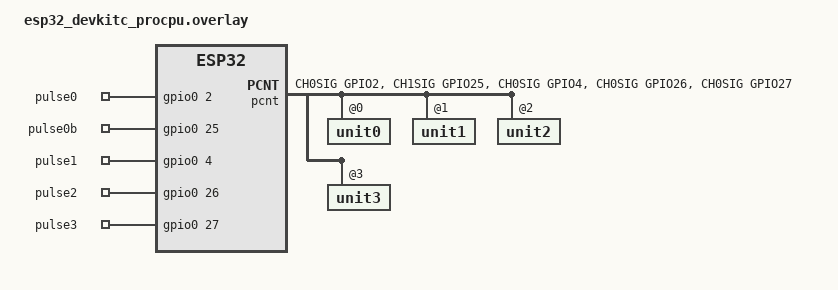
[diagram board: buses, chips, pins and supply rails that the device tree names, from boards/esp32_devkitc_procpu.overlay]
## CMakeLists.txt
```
# SPDX-License-Identifier: Apache-2.0

cmake_minimum_required(VERSION 3.28.0)

find_package(Zephyr REQUIRED HINTS $ENV{ZEPHYR_BASE})
project(qdec_esp32_test)

file(GLOB app_sources src/*.c)
target_sources(app PRIVATE ${app_sources})
```

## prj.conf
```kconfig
CONFIG_SENSOR=y
CONFIG_SENSOR_ASYNC_API=y
CONFIG_PCNT_ESP32_TRIGGER=y
CONFIG_RTIO=y
CONFIG_RTIO_WORKQ=y
CONFIG_ZTEST=y
```

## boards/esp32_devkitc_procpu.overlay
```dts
/*
 * SPDX-License-Identifier: Apache-2.0
 *
 * Copyright (c) 2026 Espressif Systems (Shanghai) Co., Ltd.
 *
 * ESP32 DevKit-C overlay for qdec_esp32_multi self-loopback test.
 * Pulses GPIO2/4/26/27 drive PCNT unit 0..3 CH0 signals, GPIO25 drives
 * unit 0 CH1 (quadrature).
 */

&i2s0 {
	status = "disabled";
};

/ {
	aliases {
		qdec0 = &pcnt;
		pulse0 = &pulse0_alias;
		pulse0b = &pulse0b_alias;
		pulse1 = &pulse1_alias;
		pulse2 = &pulse2_alias;
		pulse3 = &pulse3_alias;
	};

	pulse_aliases {
		compatible = "gpio-keys";

		pulse0_alias: pulse0_alias {
			gpios = <&gpio0 2 GPIO_ACTIVE_HIGH>;
			label = "pulse0";
		};

		pulse0b_alias: pulse0b_alias {
			gpios = <&gpio0 25 GPIO_ACTIVE_HIGH>;
			label = "pulse0b";
		};

		pulse1_alias: pulse1_alias {
			gpios = <&gpio0 4 GPIO_ACTIVE_HIGH>;
			label = "pulse1";
		};

		pulse2_alias: pulse2_alias {
			gpios = <&gpio0 26 GPIO_ACTIVE_HIGH>;
			label = "pulse2";
		};

		pulse3_alias: pulse3_alias {
			gpios = <&gpio0 27 GPIO_ACTIVE_HIGH>;
			label = "pulse3";
		};
	};
};

&pinctrl {
	pcnt_default: pcnt_default {
		group1 {
			pinmux = <PCNT0_CH0SIG_GPIO2>,
				 <PCNT0_CH1SIG_GPIO25>,
				 <PCNT1_CH0SIG_GPIO4>,
				 <PCNT2_CH0SIG_GPIO26>,
				 <PCNT3_CH0SIG_GPIO27>;
		};
	};
};

&pcnt {
	pinctrl-0 = <&pcnt_default>;
	pinctrl-names = "default";
	#address-cells = <1>;
	#size-cells = <0>;
	status = "okay";

	unit0@0 {
		reg = <0>;
		#address-cells = <1>;
		#size-cells = <0>;
		counts-per-revolution = <400>;

		channelA@0 {
			reg = <0>;
			sig-pos-mode = <1>;
			sig-neg-mode = <0>;
			ctrl-h-mode = <0>;
			ctrl-l-mode = <0>;
		};

		channelB@1 {
			reg = <1>;
			sig-pos-mode = <2>;
			sig-neg-mode = <0>;
			ctrl-h-mode = <0>;
			ctrl-l-mode = <0>;
		};
	};

	unit1@1 {
		reg = <1>;
		#address-cells = <1>;
		#size-cells = <0>;

		channelA@0 {
			reg = <0>;
			sig-pos-mode = <1>;
			sig-neg-mode = <0>;
			ctrl-h-mode = <0>;
			ctrl-l-mode = <0>;
		};
	};

	unit2@2 {
		reg = <2>;
		#address-cells = <1>;
		#size-cells = <0>;
		high-limit = <10>;

		channelA@0 {
			reg = <0>;
			sig-pos-mode = <1>;
			sig-neg-mode = <0>;
			ctrl-h-mode = <0>;
			ctrl-l-mode = <0>;
		};
	};

	unit3@3 {
		reg = <3>;
		#address-cells = <1>;
		#size-cells = <0>;
		zero-cross-event;

		channelA@0 {
			reg = <0>;
			sig-pos-mode = <1>;
			sig-neg-mode = <0>;
			ctrl-h-mode = <0>;
			ctrl-l-mode = <0>;
		};
	};
};
```

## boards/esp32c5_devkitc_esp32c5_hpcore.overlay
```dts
/*
 * SPDX-License-Identifier: Apache-2.0
 *
 * Copyright (c) 2026 Espressif Systems (Shanghai) Co., Ltd.
 *
 * ESP32-C5 DevKitC self-loopback test overlay.
 * Pulses GPIO1/9/13/14 drive PCNT units 0..3 CH0, GPIO15 drives unit 0 CH1.
 */

/ {
	aliases {
		qdec0 = &pcnt;
		pulse0 = &pulse0_alias;
		pulse0b = &pulse0b_alias;
		pulse1 = &pulse1_alias;
		pulse2 = &pulse2_alias;
		pulse3 = &pulse3_alias;
	};

	pulse_aliases {
		compatible = "gpio-keys";

		pulse0_alias: pulse0_alias {
			gpios = <&gpio0 1 GPIO_ACTIVE_HIGH>;
			label = "pulse0";
		};

		pulse0b_alias: pulse0b_alias {
			gpios = <&gpio0 15 GPIO_ACTIVE_HIGH>;
			label = "pulse0b";
		};

		pulse1_alias: pulse1_alias {
			gpios = <&gpio0 9 GPIO_ACTIVE_HIGH>;
			label = "pulse1";
		};

		pulse2_alias: pulse2_alias {
			gpios = <&gpio0 13 GPIO_ACTIVE_HIGH>;
			label = "pulse2";
		};

		pulse3_alias: pulse3_alias {
			gpios = <&gpio0 14 GPIO_ACTIVE_HIGH>;
			label = "pulse3";
		};
	};
};

&pinctrl {
	pcnt_default: pcnt_default {
		group1 {
			pinmux = <PCNT0_CH0SIG_GPIO1>,
				 <PCNT0_CH1SIG_GPIO15>,
				 <PCNT1_CH0SIG_GPIO9>,
				 <PCNT2_CH0SIG_GPIO13>,
				 <PCNT3_CH0SIG_GPIO14>;
		};
	};
};

&pcnt {
	pinctrl-0 = <&pcnt_default>;
	pinctrl-names = "default";
	#address-cells = <1>;
	#size-cells = <0>;
	status = "okay";

	unit0@0 {
		reg = <0>;
		#address-cells = <1>;
		#size-cells = <0>;
		counts-per-revolution = <400>;

		channelA@0 {
			reg = <0>;
			sig-pos-mode = <1>;
			sig-neg-mode = <0>;
			ctrl-h-mode = <0>;
			ctrl-l-mode = <0>;
		};

		channelB@1 {
			reg = <1>;
			sig-pos-mode = <2>;
			sig-neg-mode = <0>;
			ctrl-h-mode = <0>;
			ctrl-l-mode = <0>;
		};
	};

	unit1@1 {
		reg = <1>;
		#address-cells = <1>;
		#size-cells = <0>;

		channelA@0 {
			reg = <0>;
			sig-pos-mode = <1>;
			sig-neg-mode = <0>;
			ctrl-h-mode = <0>;
			ctrl-l-mode = <0>;
		};
	};

	unit2@2 {
		reg = <2>;
		#address-cells = <1>;
		#size-cells = <0>;
		high-limit = <10>;

		channelA@0 {
			reg = <0>;
			sig-pos-mode = <1>;
			sig-neg-mode = <0>;
			ctrl-h-mode = <0>;
			ctrl-l-mode = <0>;
		};
	};

	unit3@3 {
		reg = <3>;
		#address-cells = <1>;
		#size-cells = <0>;
		zero-cross-event;

		channelA@0 {
			reg = <0>;
			sig-pos-mode = <1>;
			sig-neg-mode = <0>;
			ctrl-h-mode = <0>;
			ctrl-l-mode = <0>;
		};
	};
};
```

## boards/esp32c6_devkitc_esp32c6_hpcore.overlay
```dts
/*
 * SPDX-License-Identifier: Apache-2.0
 *
 * Copyright (c) 2026 Espressif Systems (Shanghai) Co., Ltd.
 *
 * ESP32-C6 DevKitC self-loopback test overlay.
 */

/ {
	aliases {
		qdec0 = &pcnt;
		pulse0 = &pulse0_alias;
		pulse0b = &pulse0b_alias;
		pulse1 = &pulse1_alias;
		pulse2 = &pulse2_alias;
		pulse3 = &pulse3_alias;
	};

	pulse_aliases {
		compatible = "gpio-keys";

		pulse0_alias: pulse0_alias {
			gpios = <&gpio0 1 GPIO_ACTIVE_HIGH>;
			label = "pulse0";
		};

		pulse0b_alias: pulse0b_alias {
			gpios = <&gpio0 15 GPIO_ACTIVE_HIGH>;
			label = "pulse0b";
		};

		pulse1_alias: pulse1_alias {
			gpios = <&gpio0 3 GPIO_ACTIVE_HIGH>;
			label = "pulse1";
		};

		pulse2_alias: pulse2_alias {
			gpios = <&gpio0 4 GPIO_ACTIVE_HIGH>;
			label = "pulse2";
		};

		pulse3_alias: pulse3_alias {
			gpios = <&gpio0 11 GPIO_ACTIVE_HIGH>;
			label = "pulse3";
		};
	};
};

&pinctrl {
	pcnt_default: pcnt_default {
		group1 {
			pinmux = <PCNT0_CH0SIG_GPIO1>,
				 <PCNT0_CH1SIG_GPIO15>,
				 <PCNT1_CH0SIG_GPIO3>,
				 <PCNT2_CH0SIG_GPIO4>,
				 <PCNT3_CH0SIG_GPIO11>;
		};
	};
};

&pcnt {
	pinctrl-0 = <&pcnt_default>;
	pinctrl-names = "default";
	#address-cells = <1>;
	#size-cells = <0>;
	status = "okay";

	unit0@0 {
		reg = <0>;
		#address-cells = <1>;
		#size-cells = <0>;
		counts-per-revolution = <400>;

		channelA@0 {
			reg = <0>;
			sig-pos-mode = <1>;
			sig-neg-mode = <0>;
			ctrl-h-mode = <0>;
			ctrl-l-mode = <0>;
		};

		channelB@1 {
			reg = <1>;
			sig-pos-mode = <2>;
			sig-neg-mode = <0>;
			ctrl-h-mode = <0>;
			ctrl-l-mode = <0>;
		};
	};

	unit1@1 {
		reg = <1>;
		#address-cells = <1>;
		#size-cells = <0>;

		channelA@0 {
			reg = <0>;
			sig-pos-mode = <1>;
			sig-neg-mode = <0>;
			ctrl-h-mode = <0>;
			ctrl-l-mode = <0>;
		};
	};

	unit2@2 {
		reg = <2>;
		#address-cells = <1>;
		#size-cells = <0>;
		high-limit = <10>;

		channelA@0 {
			reg = <0>;
			sig-pos-mode = <1>;
			sig-neg-mode = <0>;
			ctrl-h-mode = <0>;
			ctrl-l-mode = <0>;
		};
	};

	unit3@3 {
		reg = <3>;
		#address-cells = <1>;
		#size-cells = <0>;
		zero-cross-event;

		channelA@0 {
			reg = <0>;
			sig-pos-mode = <1>;
			sig-neg-mode = <0>;
			ctrl-h-mode = <0>;
			ctrl-l-mode = <0>;
		};
	};
};
```

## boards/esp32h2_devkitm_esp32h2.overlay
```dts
/*
 * SPDX-License-Identifier: Apache-2.0
 *
 * Copyright (c) 2026 Espressif Systems (Shanghai) Co., Ltd.
 *
 * ESP32-H2 DevKitM self-loopback test overlay. The H2 PCNT input matrix
 * only reaches GPIOs 0-5, 8-14, 22-27 (board i2c0/i2c1/i2s are disabled
 * by default so 0-5 are free at runtime even though their pinctrl groups
 * exist).
 */

/ {
	aliases {
		qdec0 = &pcnt;
		pulse0 = &pulse0_alias;
		pulse0b = &pulse0b_alias;
		pulse1 = &pulse1_alias;
		pulse2 = &pulse2_alias;
		pulse3 = &pulse3_alias;
	};

	pulse_aliases {
		compatible = "gpio-keys";

		pulse0_alias: pulse0_alias {
			gpios = <&gpio0 0 GPIO_ACTIVE_HIGH>;
			label = "pulse0";
		};

		pulse0b_alias: pulse0b_alias {
			gpios = <&gpio0 4 GPIO_ACTIVE_HIGH>;
			label = "pulse0b";
		};

		pulse1_alias: pulse1_alias {
			gpios = <&gpio0 1 GPIO_ACTIVE_HIGH>;
			label = "pulse1";
		};

		pulse2_alias: pulse2_alias {
			gpios = <&gpio0 2 GPIO_ACTIVE_HIGH>;
			label = "pulse2";
		};

		pulse3_alias: pulse3_alias {
			gpios = <&gpio0 3 GPIO_ACTIVE_HIGH>;
			label = "pulse3";
		};
	};
};

&pinctrl {
	pcnt_default: pcnt_default {
		group1 {
			pinmux = <PCNT0_CH0SIG_GPIO0>,
				 <PCNT0_CH1SIG_GPIO4>,
				 <PCNT1_CH0SIG_GPIO1>,
				 <PCNT2_CH0SIG_GPIO2>,
				 <PCNT3_CH0SIG_GPIO3>;
		};
	};
};

&pcnt {
	pinctrl-0 = <&pcnt_default>;
	pinctrl-names = "default";
	#address-cells = <1>;
	#size-cells = <0>;
	status = "okay";

	unit0@0 {
		reg = <0>;
		#address-cells = <1>;
		#size-cells = <0>;
		counts-per-revolution = <400>;

		channelA@0 {
			reg = <0>;
			sig-pos-mode = <1>;
			sig-neg-mode = <0>;
			ctrl-h-mode = <0>;
			ctrl-l-mode = <0>;
		};

		channelB@1 {
			reg = <1>;
			sig-pos-mode = <2>;
			sig-neg-mode = <0>;
			ctrl-h-mode = <0>;
			ctrl-l-mode = <0>;
		};
	};

	unit1@1 {
		reg = <1>;
		#address-cells = <1>;
		#size-cells = <0>;

		channelA@0 {
			reg = <0>;
			sig-pos-mode = <1>;
			sig-neg-mode = <0>;
			ctrl-h-mode = <0>;
			ctrl-l-mode = <0>;
		};
	};

	unit2@2 {
		reg = <2>;
		#address-cells = <1>;
		#size-cells = <0>;
		high-limit = <10>;

		channelA@0 {
			reg = <0>;
			sig-pos-mode = <1>;
			sig-neg-mode = <0>;
			ctrl-h-mode = <0>;
			ctrl-l-mode = <0>;
		};
	};

	unit3@3 {
		reg = <3>;
		#address-cells = <1>;
		#size-cells = <0>;
		zero-cross-event;

		channelA@0 {
			reg = <0>;
			sig-pos-mode = <1>;
			sig-neg-mode = <0>;
			ctrl-h-mode = <0>;
			ctrl-l-mode = <0>;
		};
	};
};
```

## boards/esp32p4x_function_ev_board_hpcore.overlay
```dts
/*
 * SPDX-License-Identifier: Apache-2.0
 *
 * Copyright (c) 2026 Espressif Systems (Shanghai) Co., Ltd.
 *
 * Self-loopback test overlay:
 *   unit 0 : GPIO10 (CH0 sig)      + GPIO11 (CH1 sig, quadrature phase B)
 *   unit 1 : GPIO12 (CH0 sig)
 *   unit 2 : GPIO13 (CH0 sig)      -- carries high-limit watchpoint
 *   unit 3 : GPIO14 (CH0 sig)      -- carries zero-cross watchpoint
 */

/ {
	aliases {
		qdec0 = &pcnt;
		pulse0 = &pulse0_alias;
		pulse0b = &pulse0b_alias;
		pulse1 = &pulse1_alias;
		pulse2 = &pulse2_alias;
		pulse3 = &pulse3_alias;
	};

	pulse_aliases {
		compatible = "gpio-keys";

		pulse0_alias: pulse0_alias {
			gpios = <&gpio0 10 GPIO_ACTIVE_HIGH>;
			label = "pulse0";
		};

		pulse0b_alias: pulse0b_alias {
			gpios = <&gpio0 11 GPIO_ACTIVE_HIGH>;
			label = "pulse0b";
		};

		pulse1_alias: pulse1_alias {
			gpios = <&gpio0 12 GPIO_ACTIVE_HIGH>;
			label = "pulse1";
		};

		pulse2_alias: pulse2_alias {
			gpios = <&gpio0 13 GPIO_ACTIVE_HIGH>;
			label = "pulse2";
		};

		pulse3_alias: pulse3_alias {
			gpios = <&gpio0 14 GPIO_ACTIVE_HIGH>;
			label = "pulse3";
		};
	};
};

&pinctrl {
	pcnt_default: pcnt_default {
		group1 {
			pinmux = <PCNT0_CH0SIG_GPIO10>,
				 <PCNT0_CH1SIG_GPIO11>,
				 <PCNT1_CH0SIG_GPIO12>,
				 <PCNT2_CH0SIG_GPIO13>,
				 <PCNT3_CH0SIG_GPIO14>;
		};
	};
};

&pcnt {
	pinctrl-0 = <&pcnt_default>;
	pinctrl-names = "default";
	#address-cells = <1>;
	#size-cells = <0>;
	status = "okay";

	/*
	 * unit 0: quadrature-capable (CH0 + CH1 wired).
	 *
	 * Channel A (reg=0): rising edge on sig -> increment, falling -> decrement.
	 * Channel B (reg=1): rising edge on sig -> decrement, falling -> increment.
	 *
	 * Together this forms a 4x quadrature decoder when both signals move
	 * 90 degrees out of phase. If we drive only sig A in simple toggles
	 * with sig B held low, channel A contributes both sides of the wave
	 * (pos: +1, neg: -1 - net 0). For the simple counting tests we hold
	 * the B input low, so sig_neg_mode is set to 0 on channel A to
	 * guarantee +1 per rising edge only.
	 */
	unit0@0 {
		reg = <0>;
		#address-cells = <1>;
		#size-cells = <0>;
		counts-per-revolution = <400>;

		channelA@0 {
			reg = <0>;
			sig-pos-mode = <1>;
			sig-neg-mode = <0>;
			ctrl-h-mode = <0>;
			ctrl-l-mode = <0>;
		};

		channelB@1 {
			reg = <1>;
			sig-pos-mode = <2>;
			sig-neg-mode = <0>;
			ctrl-h-mode = <0>;
			ctrl-l-mode = <0>;
		};
	};

	unit1@1 {
		reg = <1>;
		#address-cells = <1>;
		#size-cells = <0>;

		channelA@0 {
			reg = <0>;
			sig-pos-mode = <1>;
			sig-neg-mode = <0>;
			ctrl-h-mode = <0>;
			ctrl-l-mode = <0>;
		};
	};

	/* unit 2: armed with a high-limit watchpoint at +10 */
	unit2@2 {
		reg = <2>;
		#address-cells = <1>;
		#size-cells = <0>;
		high-limit = <10>;

		channelA@0 {
			reg = <0>;
			sig-pos-mode = <1>;
			sig-neg-mode = <0>;
			ctrl-h-mode = <0>;
			ctrl-l-mode = <0>;
		};
	};

	/*
	 * unit 3: same wiring as unit1/2 but with zero-cross-event enabled.
	 * We verify the DT wiring compiles and the unit still counts normally;
	 * triggering the zero-cross event at runtime would require the counter
	 * to be driven negative first, which needs additional bench setup.
	 */
	unit3@3 {
		reg = <3>;
		#address-cells = <1>;
		#size-cells = <0>;
		zero-cross-event;

		channelA@0 {
			reg = <0>;
			sig-pos-mode = <1>;
			sig-neg-mode = <0>;
			ctrl-h-mode = <0>;
			ctrl-l-mode = <0>;
		};
	};
};
```

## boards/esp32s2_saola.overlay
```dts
/*
 * SPDX-License-Identifier: Apache-2.0
 *
 * Copyright (c) 2026 Espressif Systems (Shanghai) Co., Ltd.
 *
 * ESP32-S2 Saola self-loopback PCNT test overlay.
 */

/ {
	aliases {
		qdec0 = &pcnt;
		pulse0 = &pulse0_alias;
		pulse0b = &pulse0b_alias;
		pulse1 = &pulse1_alias;
		pulse2 = &pulse2_alias;
		pulse3 = &pulse3_alias;
	};

	pulse_aliases {
		compatible = "gpio-keys";

		pulse0_alias: pulse0_alias {
			gpios = <&gpio0 1 GPIO_ACTIVE_HIGH>;
			label = "pulse0";
		};

		pulse0b_alias: pulse0b_alias {
			gpios = <&gpio0 15 GPIO_ACTIVE_HIGH>;
			label = "pulse0b";
		};

		pulse1_alias: pulse1_alias {
			gpios = <&gpio0 2 GPIO_ACTIVE_HIGH>;
			label = "pulse1";
		};

		pulse2_alias: pulse2_alias {
			gpios = <&gpio0 7 GPIO_ACTIVE_HIGH>;
			label = "pulse2";
		};

		pulse3_alias: pulse3_alias {
			gpios = <&gpio0 14 GPIO_ACTIVE_HIGH>;
			label = "pulse3";
		};
	};
};

&pinctrl {
	pcnt_default: pcnt_default {
		group1 {
			pinmux = <PCNT0_CH0SIG_GPIO1>,
				 <PCNT0_CH1SIG_GPIO15>,
				 <PCNT1_CH0SIG_GPIO2>,
				 <PCNT2_CH0SIG_GPIO7>,
				 <PCNT3_CH0SIG_GPIO14>;
		};
	};
};

&pcnt {
	pinctrl-0 = <&pcnt_default>;
	pinctrl-names = "default";
	#address-cells = <1>;
	#size-cells = <0>;
	status = "okay";

	unit0@0 {
		reg = <0>;
		#address-cells = <1>;
		#size-cells = <0>;
		counts-per-revolution = <400>;

		channelA@0 {
			reg = <0>;
			sig-pos-mode = <1>;
			sig-neg-mode = <0>;
			ctrl-h-mode = <0>;
			ctrl-l-mode = <0>;
		};

		channelB@1 {
			reg = <1>;
			sig-pos-mode = <2>;
			sig-neg-mode = <0>;
			ctrl-h-mode = <0>;
			ctrl-l-mode = <0>;
		};
	};

	unit1@1 {
		reg = <1>;
		#address-cells = <1>;
		#size-cells = <0>;

		channelA@0 {
			reg = <0>;
			sig-pos-mode = <1>;
			sig-neg-mode = <0>;
			ctrl-h-mode = <0>;
			ctrl-l-mode = <0>;
		};
	};

	unit2@2 {
		reg = <2>;
		#address-cells = <1>;
		#size-cells = <0>;
		high-limit = <10>;

		channelA@0 {
			reg = <0>;
			sig-pos-mode = <1>;
			sig-neg-mode = <0>;
			ctrl-h-mode = <0>;
			ctrl-l-mode = <0>;
		};
	};

	unit3@3 {
		reg = <3>;
		#address-cells = <1>;
		#size-cells = <0>;
		zero-cross-event;

		channelA@0 {
			reg = <0>;
			sig-pos-mode = <1>;
			sig-neg-mode = <0>;
			ctrl-h-mode = <0>;
			ctrl-l-mode = <0>;
		};
	};
};
```

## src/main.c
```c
/*
 * Copyright (c) 2026 Espressif Systems (Shanghai) Co., Ltd.
 *
 * SPDX-License-Identifier: Apache-2.0
 *
 * ESP32 PCNT hardware self-test. The overlay wires four PCNT units so
 * that software-driven pulse pads feed back into the PCNT input matrix
 * without external wiring (each pulse pad is configured as both input
 * and output, so the GPIO matrix routes the software-driven level into
 * PCNT).
 */

#include <zephyr/kernel.h>
#include <zephyr/ztest.h>
#include <zephyr/device.h>
#include <zephyr/drivers/sensor.h>
#include <zephyr/drivers/sensor/pcnt_esp32.h>
#include <zephyr/drivers/gpio.h>
#include <zephyr/rtio/rtio.h>

#define QDEC_NODE DT_ALIAS(qdec0)

BUILD_ASSERT(DT_NODE_EXISTS(QDEC_NODE),
	     "Board overlay must provide a 'qdec0' alias pointing to the "
	     "multi-unit PCNT node.");

#define QDEC_UNIT_CHAN(node_id)                                                                    \
	{.chan_type = SENSOR_CHAN_ENCODER_COUNT, .chan_idx = DT_REG_ADDR(node_id)},

SENSOR_DT_READ_IODEV(qdec_iodev, QDEC_NODE, DT_FOREACH_CHILD(QDEC_NODE, QDEC_UNIT_CHAN));

RTIO_DEFINE_WITH_MEMPOOL(qdec_rtio, 4, 4, 4, 256, sizeof(void *));

/* clang-format off */
static const uint8_t unit_indices[] = {
	DT_FOREACH_CHILD_SEP(QDEC_NODE, DT_REG_ADDR, (,))
};
/* clang-format on */

#define NUM_UNITS ARRAY_SIZE(unit_indices)

static const struct gpio_dt_spec pulse0 = GPIO_DT_SPEC_GET(DT_ALIAS(pulse0), gpios);
static const struct gpio_dt_spec pulse0b = GPIO_DT_SPEC_GET(DT_ALIAS(pulse0b), gpios);
static const struct gpio_dt_spec pulse1 = GPIO_DT_SPEC_GET(DT_ALIAS(pulse1), gpios);
static const struct gpio_dt_spec pulse2 = GPIO_DT_SPEC_GET(DT_ALIAS(pulse2), gpios);
static const struct gpio_dt_spec pulse3 = GPIO_DT_SPEC_GET(DT_ALIAS(pulse3), gpios);

static const struct gpio_dt_spec *all_pulses[] = {
	&pulse0, &pulse0b, &pulse1, &pulse2, &pulse3,
};

static volatile uint32_t trig_hits[4];

static void trig0_handler(const struct device *d, const struct sensor_trigger *t)
{
	ARG_UNUSED(d);
	ARG_UNUSED(t);
	trig_hits[0]++;
}
static void trig1_handler(const struct device *d, const struct sensor_trigger *t)
{
	ARG_UNUSED(d);
	ARG_UNUSED(t);
	trig_hits[1]++;
}
static void trig2_handler(const struct device *d, const struct sensor_trigger *t)
{
	ARG_UNUSED(d);
	ARG_UNUSED(t);
	trig_hits[2]++;
}

static const struct device *dev;
static const struct sensor_decoder_api *decoder;

static int read_counts(int32_t *counts)
{
	uint8_t buf[256];
	int rc = sensor_read(&qdec_iodev, &qdec_rtio, buf, sizeof(buf));

	if (rc != 0) {
		return rc;
	}

	for (size_t i = 0; i < NUM_UNITS; i++) {
		struct sensor_chan_spec spec = {
			.chan_type = SENSOR_CHAN_ENCODER_COUNT,
			.chan_idx = unit_indices[i],
		};
		struct sensor_q31_data data = {0};
		uint32_t fit = 0;

		rc = decoder->decode(buf, spec, &fit, 1, &data);
		if (rc < 1) {
			return -EIO;
		}
		counts[i] = data.readings[0].value;
	}
	return 0;
}

static int read_rotation_q31(uint16_t chan_idx, int32_t *q, int8_t *shift)
{
	uint8_t buf[256];
	int rc = sensor_read(&qdec_iodev, &qdec_rtio, buf, sizeof(buf));

	if (rc != 0) {
		return rc;
	}
	struct sensor_chan_spec spec = {
		.chan_type = SENSOR_CHAN_ROTATION,
		.chan_idx = chan_idx,
	};
	struct sensor_q31_data data = {0};
	uint32_t fit = 0;

	rc = decoder->decode(buf, spec, &fit, 1, &data);
	if (rc < 1) {
		return -EIO;
	}
	*q = data.readings[0].value;
	*shift = data.shift;
	return 0;
}

static void reset_all(void)
{
	struct sensor_value v = {0};

	for (size_t i = 0; i < NUM_UNITS; i++) {
		sensor_attr_set(dev, SENSOR_CHAN_PCNT_ESP32_UNIT(unit_indices[i]),
				SENSOR_ATTR_OFFSET, &v);
		sensor_attr_set(dev, SENSOR_CHAN_PCNT_ESP32_UNIT(unit_indices[i]),
				SENSOR_ATTR_PCNT_ESP32_RESET, &v);
	}
}

static void drive_edges(const struct gpio_dt_spec *p, int n_rising, uint32_t period_ms)
{
	for (int i = 0; i < 2 * n_rising; i++) {
		gpio_pin_set_dt(p, i & 1);
		k_msleep(period_ms);
	}
	gpio_pin_set_dt(p, 0);
}

static void *qdec_suite_setup(void)
{
	dev = DEVICE_DT_GET(QDEC_NODE);
	zassert_true(device_is_ready(dev), "PCNT device not ready");
	zassert_equal(sensor_get_decoder(dev, &decoder), 0, "decoder not returned");

	/*
	 * Configure every pulse pad as both output and input. The driver's
	 * pinctrl already routed the pad to the PCNT peripheral via the
	 * input matrix, so keeping the input buffer live lets PCNT observe
	 * the software-driven output level - no external wiring required.
	 */
	for (size_t i = 0; i < ARRAY_SIZE(all_pulses); i++) {
		int rc = gpio_pin_configure_dt(all_pulses[i], GPIO_INPUT | GPIO_OUTPUT_INACTIVE);

		zassert_equal(rc, 0, "gpio pulse%zu configure failed", i);
	}
	reset_all();
	return NULL;
}

static void qdec_before(void *f)
{
	ARG_UNUSED(f);
	reset_all();
	for (size_t i = 0; i < ARRAY_SIZE(trig_hits); i++) {
		trig_hits[i] = 0;
	}
}

ZTEST(qdec_selfloop, test_01_baseline)
{
	int32_t counts[4] = {0};

	zassert_equal(read_counts(counts), 0);
	for (size_t i = 0; i < NUM_UNITS; i++) {
		zassert_equal(counts[i], 0, "unit %u not zero", unit_indices[i]);
	}
}

ZTEST(qdec_selfloop, test_02_per_unit_offset)
{
	const int32_t offsets[] = {111, 222, 333, 444};
	int32_t counts[4] = {0};
	struct sensor_value v = {0};

	for (size_t i = 0; i < NUM_UNITS; i++) {
		v.val1 = offsets[i];
		zassert_equal(sensor_attr_set(dev, SENSOR_CHAN_PCNT_ESP32_UNIT(unit_indices[i]),
					      SENSOR_ATTR_OFFSET, &v),
			      0);
	}
	zassert_equal(read_counts(counts), 0);
	for (size_t i = 0; i < NUM_UNITS; i++) {
		zassert_equal(counts[i], offsets[i], "unit %u: got %d, expected %d",
			      unit_indices[i], counts[i], offsets[i]);
	}
}

ZTEST(qdec_selfloop, test_03_attr_get_roundtrip)
{
	struct sensor_value v = {0};

	v.val1 = 555;
	zassert_equal(sensor_attr_set(dev, SENSOR_CHAN_PCNT_ESP32_UNIT(1), SENSOR_ATTR_OFFSET, &v),
		      0);
	v.val1 = 0;
	zassert_equal(sensor_attr_get(dev, SENSOR_CHAN_PCNT_ESP32_UNIT(1), SENSOR_ATTR_OFFSET, &v),
		      0);
	zassert_equal(v.val1, 555, "attr_get returned %d", v.val1);
}

ZTEST(qdec_selfloop, test_04_reset_clears_counter)
{
	int32_t counts[4] = {0};
	struct sensor_value v = {0};

	drive_edges(&pulse0, 5, 2);
	zassert_equal(read_counts(counts), 0);
	zassert_true(counts[0] >= 5, "counter only reached %d", counts[0]);

	zassert_equal(sensor_attr_set(dev, SENSOR_CHAN_PCNT_ESP32_UNIT(0),
				      SENSOR_ATTR_PCNT_ESP32_RESET, &v),
		      0);
	zassert_equal(read_counts(counts), 0);
	zassert_equal(counts[0], 0, "counter did not clear (got %d)", counts[0]);
}

ZTEST(qdec_selfloop, test_05_legacy_channel_get)
{
	struct sensor_value v;

	v.val1 = 777;
	v.val2 = 0;
	zassert_equal(sensor_attr_set(dev, SENSOR_CHAN_PCNT_ESP32_UNIT(0), SENSOR_ATTR_OFFSET, &v),
		      0);
	zassert_equal(sensor_sample_fetch(dev), 0);
	zassert_equal(sensor_channel_get(dev, SENSOR_CHAN_ENCODER_COUNT, &v), 0);
	zassert_equal(v.val1, 777, "legacy read returned %d", v.val1);
}

ZTEST(qdec_selfloop, test_06_unsupported_channel)
{
	struct sensor_value v = {0};
	int rc = sensor_attr_set(dev, SENSOR_CHAN_ACCEL_X, SENSOR_ATTR_OFFSET, &v);

	zassert_equal(rc, -ENOTSUP, "got rc=%d", rc);
}

ZTEST(qdec_selfloop, test_07_independent_counts)
{
	int32_t counts[4] = {0};
	const int expected[] = {20, 10, 7, 3};

	drive_edges(&pulse0, expected[0], 2);
	drive_edges(&pulse1, expected[1], 2);
	drive_edges(&pulse2, expected[2], 2);
	drive_edges(&pulse3, expected[3], 2);

	zassert_equal(read_counts(counts), 0);
	for (size_t i = 0; i < NUM_UNITS; i++) {
		zassert_equal(counts[i], expected[i], "unit %u: got %d, expected %d",
			      unit_indices[i], counts[i], expected[i]);
	}
}

ZTEST(qdec_selfloop, test_08_upper_thresh_trigger)
{
	static const struct sensor_trigger trig_u0 = {
		.type = SENSOR_TRIG_THRESHOLD,
		.chan = SENSOR_CHAN_ROTATION,
	};
	static const struct sensor_trigger trig_u1 = {
		.type = SENSOR_TRIG_THRESHOLD,
		.chan = SENSOR_CHAN_PCNT_ESP32_UNIT(1),
	};
	struct sensor_value v;

	v.val1 = 3;
	v.val2 = 0;
	zassert_equal(sensor_attr_set(dev, SENSOR_CHAN_ROTATION, SENSOR_ATTR_UPPER_THRESH, &v), 0);
	v.val1 = 2;
	zassert_equal(
		sensor_attr_set(dev, SENSOR_CHAN_PCNT_ESP32_UNIT(1), SENSOR_ATTR_UPPER_THRESH, &v),
		0);

	zassert_equal(sensor_trigger_set(dev, &trig_u0, trig0_handler), 0);
	zassert_equal(sensor_trigger_set(dev, &trig_u1, trig1_handler), 0);

	drive_edges(&pulse0, 5, 2);
	drive_edges(&pulse1, 5, 2);
	k_msleep(10);

	zassert_true(trig_hits[0] >= 1, "u0 hits=%u", trig_hits[0]);
	zassert_true(trig_hits[1] >= 1, "u1 hits=%u", trig_hits[1]);
}

ZTEST(qdec_selfloop, test_09_lower_thresh)
{
	static const struct sensor_trigger trig_u0 = {
		.type = SENSOR_TRIG_THRESHOLD,
		.chan = SENSOR_CHAN_ROTATION,
	};
	struct sensor_value v;

	v.val1 = 4;
	v.val2 = 0;
	zassert_equal(sensor_attr_set(dev, SENSOR_CHAN_ROTATION, SENSOR_ATTR_LOWER_THRESH, &v), 0);
	zassert_equal(sensor_trigger_set(dev, &trig_u0, trig0_handler), 0);
	drive_edges(&pulse0, 6, 2);
	k_msleep(10);

	v.val1 = 0;
	zassert_equal(sensor_attr_get(dev, SENSOR_CHAN_ROTATION, SENSOR_ATTR_LOWER_THRESH, &v), 0);
	zassert_equal(v.val1, 4);
	zassert_true(trig_hits[0] >= 1, "u0 hits=%u", trig_hits[0]);
}

ZTEST(qdec_selfloop, test_10_four_units_concurrent)
{
	int32_t counts[4] = {0};

	for (int i = 0; i < 20; i++) {
		int level = i & 1;

		gpio_pin_set_dt(&pulse0, level);
		gpio_pin_set_dt(&pulse1, level);
		gpio_pin_set_dt(&pulse2, level);
		gpio_pin_set_dt(&pulse3, level);
		k_msleep(2);
	}
	zassert_equal(read_counts(counts), 0);
	zassert_equal(counts[0], 10, "u0=%d", counts[0]);
	zassert_equal(counts[1], 10, "u1=%d", counts[1]);
	zassert_true(counts[2] >= 0 && counts[2] <= 10, "u2=%d", counts[2]);
	zassert_equal(counts[3], 10, "u3=%d", counts[3]);
}

ZTEST(qdec_selfloop, test_11_rotation_degrees)
{
	int32_t q;
	int8_t shift;

	drive_edges(&pulse0, 100, 1);
	zassert_equal(read_rotation_q31(0, &q, &shift), 0);
	zassert_equal(shift, 9, "shift=%d", shift);
	/* 100/400 * 360 = 90 deg; q ~= 90 * 2^22 */
	int32_t expected = 90 * (int32_t)(1 << 22);
	int32_t diff = q - expected;

	if (diff < 0) {
		diff = -diff;
	}
	zassert_true(diff < (1 << 22), "q=%d expected ~%d (diff %d)", q, expected, diff);
}

ZTEST(qdec_selfloop, test_12_high_limit_auto_reset)
{
	static const struct sensor_trigger trig_u2 = {
		.type = SENSOR_TRIG_THRESHOLD,
		.chan = SENSOR_CHAN_PCNT_ESP32_UNIT(2),
	};
	int32_t counts[4] = {0};

	zassert_equal(sensor_trigger_set(dev, &trig_u2, trig2_handler), 0);
	drive_edges(&pulse2, 25, 2);
	k_msleep(10);

	zassert_equal(read_counts(counts), 0);
	/*
	 * The hardware counter is clamped back to zero on every high-limit
	 * event, but the driver carries each wrap into a software accumulator,
	 * so the reported count is the true pulse total rather than 25 % 10.
	 */
	zassert_equal(counts[2], 25, "expected 25 across two auto-resets, got %d", counts[2]);
	zassert_true(trig_hits[2] >= 2, "expected H_LIM >= 2 hits, got %u", trig_hits[2]);
}

ZTEST(qdec_selfloop, test_13_zero_cross_unit_counts)
{
	int32_t counts[4] = {0};

	drive_edges(&pulse3, 8, 2);
	zassert_equal(read_counts(counts), 0);
	zassert_equal(counts[3], 8, "u3=%d", counts[3]);
}

ZTEST(qdec_selfloop, test_14_quadrature_direction)
{
	int32_t counts[4] = {0};

	drive_edges(&pulse0, 10, 2); /* CH0 +1 per rising -> +10 */
	drive_edges(&pulse0b, 7, 2); /* CH1 -1 per rising ->  -7 */

	zassert_equal(read_counts(counts), 0);
	zassert_equal(counts[0], 3, "net should be +3, got %d", counts[0]);
}

ZTEST_SUITE(qdec_selfloop, NULL, qdec_suite_setup, qdec_before, NULL, NULL);
```
